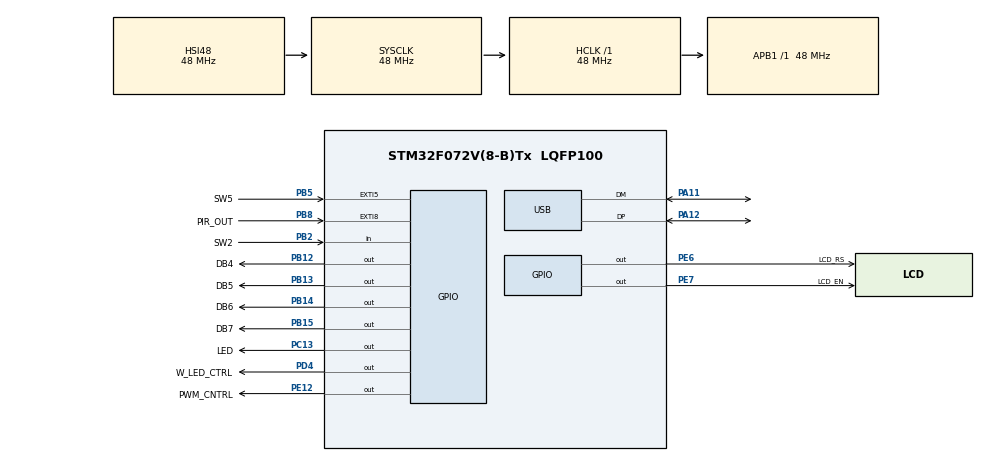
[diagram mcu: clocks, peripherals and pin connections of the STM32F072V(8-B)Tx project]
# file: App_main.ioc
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Mcu.Family=STM32F0
Mcu.Name=STM32F072V(8-B)Tx
Mcu.Package=LQFP100
NVIC.EXTI4_15_IRQn=true\:0\:0\:false\:false\:true\:true\:true\:true
NVIC.TIM2_IRQn=true\:0\:0\:false\:false\:true\:true\:true\:true
NVIC.USB_IRQn=true\:0\:0\:false\:false\:true\:false\:true\:true
PA11.Mode=Device
PA11.Signal=USB_DM
PA12.Mode=Device
PA12.Signal=USB_DP
PB12.GPIO_Label=DB4
PB12.Signal=GPIO_Output
PB13.GPIO_Label=DB5
PB13.Signal=GPIO_Output
PB14.GPIO_Label=DB6
PB14.Signal=GPIO_Output
PB15.GPIO_Label=DB7
PB15.Signal=GPIO_Output
PB2.GPIO_Label=SW2
PB2.Signal=GPIO_Input
PB5.GPIO_Label=SW5
PB5.Signal=GPXTI5
PB8.GPIO_Label=PIR_OUT
PB8.GPIO_ModeDefaultEXTI=GPIO_MODE_IT_RISING
PB8.GPIO_PuPd=GPIO_NOPULL
PB8.Signal=GPXTI8
PC13.GPIO_Label=LED
PC13.Signal=GPIO_Output
PD4.GPIO_Label=W_LED_CTRL
PD4.Signal=GPIO_Output
PE12.GPIO_Label=PWM_CNTRL
PE12.Signal=GPIO_Output
PE6.GPIO_Label=LCD_RS
PE6.Signal=GPIO_Output
PE7.GPIO_Label=LCD_EN
PE7.Signal=GPIO_Output
PF0-OSC_IN.Mode=HSE-External-Oscillator
PF0-OSC_IN.Signal=RCC_OSC_IN
PF1-OSC_OUT.Mode=HSE-External-Oscillator
PF1-OSC_OUT.Signal=RCC_OSC_OUT
ProjectManager.HeapSize=0x200
ProjectManager.StackSize=0x400
ProjectManager.TargetToolchain=STM32CubeIDE
RCC.AHBFreq_Value=48000000
RCC.APB1Freq_Value=48000000
RCC.APB1TimFreq_Value=48000000
RCC.HCLKFreq_Value=48000000
RCC.SYSCLKFreq_VALUE=48000000
RCC.SYSCLKSource=RCC_SYSCLKSOURCE_HSI48
TIM2.Period=10000
TIM2.Prescaler=47999
USB_DEVICE.CLASS_NAME_FS=CDC
USB_DEVICE.VirtualMode=Cdc
USB_DEVICE.VirtualModeFS=Cdc_FS
VP_TIM2_VS_ClockSourceINT.Mode=Internal
VP_USB_DEVICE_VS_USB_DEVICE_CDC_FS.Mode=CDC_FS
board=custom

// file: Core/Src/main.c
/* USER CODE BEGIN Header */
/**
  ******************************************************************************
  * @file           : main.c
  * @brief          : Main program body
  ******************************************************************************
  * @attention
  *
  * Copyright (c) 2023 STMicroelectronics.
  * All rights reserved.
  *
  * This software is licensed under terms that can be found in the LICENSE file
  * in the root directory of this software component.
  * If no LICENSE file comes with this software, it is provided AS-IS.
  *
  ******************************************************************************
  */
/* USER CODE END Header */
#include "main.h"
#include "usb_device.h"

/* USER CODE BEGIN Includes */

#include "usbd_cdc_if.h"
#include "lcd.h"
#include "mainApp.hpp"
#include "stm32f0xx_hal.h"
/* USER CODE END Includes */

/* USER CODE BEGIN PTD */
#define time 10 *1000  //in seconds (remove "*1000" for milliseconds)
/* USER CODE END PTD */

TIM_HandleTypeDef htim2;

void SystemClock_Config(void);
static void MX_GPIO_Init(void);
static void MX_TIM2_Init(void);

int main(void)
{

  /* MCU Configuration--------------------------------------------------------*/

  /* Reset of all peripherals, Initializes the Flash interface and the Systick. */
  HAL_Init();

  /* Configure the system clock */
  SystemClock_Config();

  /* Initialize all configured peripherals */
  MX_GPIO_Init();
  MX_USB_DEVICE_Init();
  MX_TIM2_Init();
  /* USER CODE BEGIN 2 */
  HAL_GPIO_WritePin(GPIOE, PWM_CNTRL_Pin, GPIO_PIN_SET);
  HAL_TIM_Base_Start_IT(&htim2);
  HAL_TIM_Base_Stop_IT(&htim2);
  program_init();
  registerHandler(WLED_func);
  registerHandler1(timerElapsed_func);

  /* USER CODE END 2 */

  /* Infinite loop */
  /* USER CODE BEGIN WHILE */
//

 uint8_t delayStarted[] = "Delay started\r\n";
 uint8_t delayended[] = "Delay ended\r\n";
 //	  for(int i=0; i<1000;i++)
 //  {
 //	  delay(1000);
 //  }
  while (1)
  {
    /* USER CODE END WHILE */

    /* USER CODE BEGIN 3 */
//	  CDC_Transmit_FS(delayStarted, sizeof(delayStarted));
//	  HAL_Delay(1000);
	  if(!HAL_GPIO_ReadPin (SW2_GPIO_Port, SW2_Pin)){
		  lcd_sequence();
		    }
	  HAL_GPIO_TogglePin(LED_GPIO_Port, LED_Pin);
	  CDC_Transmit_FS(delayended, sizeof(delayended));
  }

  /* USER CODE END 3 */
}

void SystemClock_Config(void)
{
  RCC_OscInitTypeDef RCC_OscInitStruct = {0};
  RCC_ClkInitTypeDef RCC_ClkInitStruct = {0};
  RCC_PeriphCLKInitTypeDef PeriphClkInit = {0};

  /** Initializes the RCC Oscillators according to the specified parameters
  * in the RCC_OscInitTypeDef structure.
  */
  RCC_OscInitStruct.OscillatorType = RCC_OSCILLATORTYPE_HSI48;
  RCC_OscInitStruct.HSI48State = RCC_HSI48_ON;
  RCC_OscInitStruct.PLL.PLLState = RCC_PLL_NONE;
  if (HAL_RCC_OscConfig(&RCC_OscInitStruct) != HAL_OK)
  {
    Error_Handler();
  }

  /** Initializes the CPU, AHB and APB buses clocks
  */
  RCC_ClkInitStruct.ClockType = RCC_CLOCKTYPE_HCLK|RCC_CLOCKTYPE_SYSCLK
                              |RCC_CLOCKTYPE_PCLK1;
  RCC_ClkInitStruct.SYSCLKSource = RCC_SYSCLKSOURCE_HSI48;
  RCC_ClkInitStruct.AHBCLKDivider = RCC_SYSCLK_DIV1;
  RCC_ClkInitStruct.APB1CLKDivider = RCC_HCLK_DIV1;

  if (HAL_RCC_ClockConfig(&RCC_ClkInitStruct, FLASH_LATENCY_1) != HAL_OK)
  {
    Error_Handler();
  }
  PeriphClkInit.PeriphClockSelection = RCC_PERIPHCLK_USB;
  PeriphClkInit.UsbClockSelection = RCC_USBCLKSOURCE_HSI48;

  if (HAL_RCCEx_PeriphCLKConfig(&PeriphClkInit) != HAL_OK)
  {
    Error_Handler();
  }
}

static void MX_TIM2_Init(void)
{

  TIM_ClockConfigTypeDef sClockSourceConfig = {0};
  TIM_MasterConfigTypeDef sMasterConfig = {0};

  htim2.Instance = TIM2;
  htim2.Init.Prescaler = 47999;
  htim2.Init.CounterMode = TIM_COUNTERMODE_UP;
  htim2.Init.Period = time;
  htim2.Init.ClockDivision = TIM_CLOCKDIVISION_DIV1;
  htim2.Init.AutoReloadPreload = TIM_AUTORELOAD_PRELOAD_DISABLE;
  if (HAL_TIM_Base_Init(&htim2) != HAL_OK)
  {
    Error_Handler();
  }
  sClockSourceConfig.ClockSource = TIM_CLOCKSOURCE_INTERNAL;
  if (HAL_TIM_ConfigClockSource(&htim2, &sClockSourceConfig) != HAL_OK)
  {
    Error_Handler();
  }
  sMasterConfig.MasterOutputTrigger = TIM_TRGO_RESET;
  sMasterConfig.MasterSlaveMode = TIM_MASTERSLAVEMODE_DISABLE;
  if (HAL_TIMEx_MasterConfigSynchronization(&htim2, &sMasterConfig) != HAL_OK)
  {
    Error_Handler();
  }

}

static void MX_GPIO_Init(void)
{
  GPIO_InitTypeDef GPIO_InitStruct = {0};

  /* GPIO Ports Clock Enable */
  __HAL_RCC_GPIOE_CLK_ENABLE();
  __HAL_RCC_GPIOC_CLK_ENABLE();
  __HAL_RCC_GPIOF_CLK_ENABLE();
  __HAL_RCC_GPIOB_CLK_ENABLE();
  __HAL_RCC_GPIOA_CLK_ENABLE();
  __HAL_RCC_GPIOD_CLK_ENABLE();

  /*Configure GPIO pin Output Level */
  HAL_GPIO_WritePin(GPIOE, LCD_RS_Pin|LCD_EN_Pin|PWM_CNTRL_Pin, GPIO_PIN_RESET);

  /*Configure GPIO pin Output Level */
  HAL_GPIO_WritePin(LED_GPIO_Port, LED_Pin, GPIO_PIN_RESET);

  /*Configure GPIO pin Output Level */
  HAL_GPIO_WritePin(GPIOB, DB4_Pin|DB5_Pin|DB6_Pin|DB7_Pin, GPIO_PIN_RESET);

  /*Configure GPIO pin Output Level */
  HAL_GPIO_WritePin(W_LED_CTRL_GPIO_Port, W_LED_CTRL_Pin, GPIO_PIN_RESET);

  /*Configure GPIO pins : LCD_RS_Pin LCD_EN_Pin PWM_CNTRL_Pin */
  GPIO_InitStruct.Pin = LCD_RS_Pin|LCD_EN_Pin|PWM_CNTRL_Pin;
  GPIO_InitStruct.Mode = GPIO_MODE_OUTPUT_PP;
  GPIO_InitStruct.Pull = GPIO_NOPULL;
  GPIO_InitStruct.Speed = GPIO_SPEED_FREQ_LOW;
  HAL_GPIO_Init(GPIOE, &GPIO_InitStruct);

  /*Configure GPIO pin : LED_Pin */
  GPIO_InitStruct.Pin = LED_Pin;
  GPIO_InitStruct.Mode = GPIO_MODE_OUTPUT_PP;
  GPIO_InitStruct.Pull = GPIO_NOPULL;
  GPIO_InitStruct.Speed = GPIO_SPEED_FREQ_LOW;
  HAL_GPIO_Init(LED_GPIO_Port, &GPIO_InitStruct);

  /*Configure GPIO pins : SW2_Pin PIR_OUT_Pin */
  GPIO_InitStruct.Pin = SW2_Pin|PIR_OUT_Pin;
  GPIO_InitStruct.Mode = GPIO_MODE_INPUT;
  GPIO_InitStruct.Pull = GPIO_NOPULL;
  HAL_GPIO_Init(GPIOB, &GPIO_InitStruct);

  /*Configure GPIO pins : DB4_Pin DB5_Pin DB6_Pin DB7_Pin */
  GPIO_InitStruct.Pin = DB4_Pin|DB5_Pin|DB6_Pin|DB7_Pin;
  GPIO_InitStruct.Mode = GPIO_MODE_OUTPUT_PP;
  GPIO_InitStruct.Pull = GPIO_NOPULL;
  GPIO_InitStruct.Speed = GPIO_SPEED_FREQ_LOW;
  HAL_GPIO_Init(GPIOB, &GPIO_InitStruct);

  /*Configure GPIO pin : W_LED_CTRL_Pin */
  GPIO_InitStruct.Pin = W_LED_CTRL_Pin;
  GPIO_InitStruct.Mode = GPIO_MODE_OUTPUT_PP;
  GPIO_InitStruct.Pull = GPIO_NOPULL;
  GPIO_InitStruct.Speed = GPIO_SPEED_FREQ_LOW;
  HAL_GPIO_Init(W_LED_CTRL_GPIO_Port, &GPIO_InitStruct);

  /*Configure GPIO pin : SW5_Pin */
  GPIO_InitStruct.Pin = SW5_Pin;
  GPIO_InitStruct.Mode = GPIO_MODE_IT_RISING;
  GPIO_InitStruct.Pull = GPIO_PULLDOWN;
  HAL_GPIO_Init(SW5_GPIO_Port, &GPIO_InitStruct);

  /* EXTI interrupt init*/
  HAL_NVIC_SetPriority(EXTI4_15_IRQn, 0, 0);
  HAL_NVIC_EnableIRQ(EXTI4_15_IRQn);

}

/* USER CODE BEGIN 4 */
void HAL_GPIO_EXTI_Callback(uint16_t GPIO_Pin)
{
	handler(GPIO_Pin,&htim2);
}
void HAL_TIM_PeriodElapsedCallback(TIM_HandleTypeDef* htim)
{
	handler1(htim);
}

// EXTI Line9 External Interrupt ISR Handler CallBackFun

/* USER CODE END 4 */

void Error_Handler(void)
{
  __disable_irq();
  while (1)
  {
  }
}
